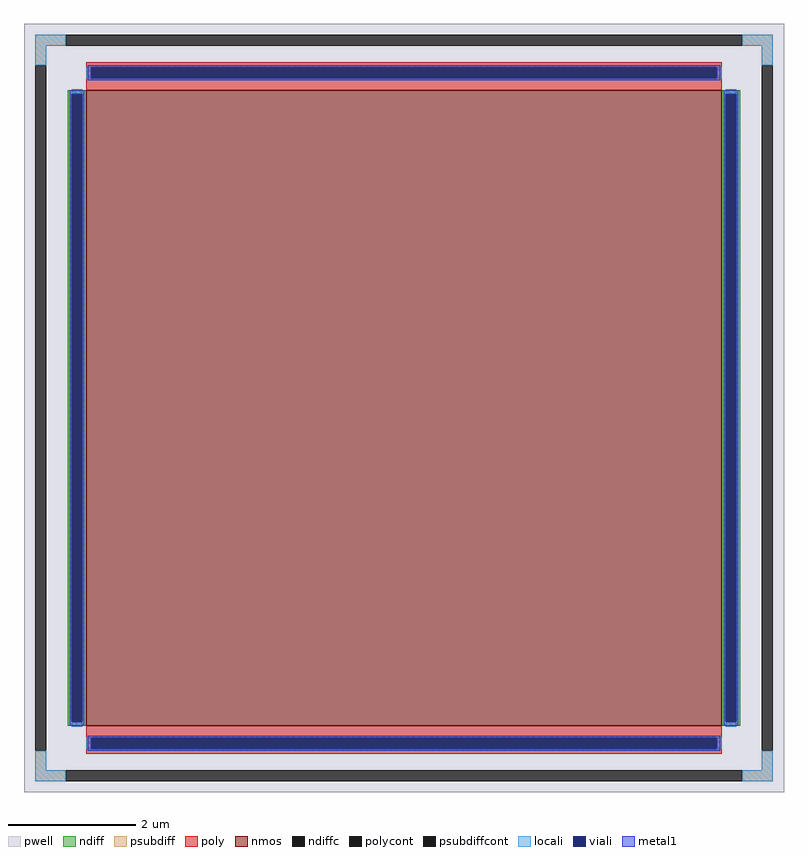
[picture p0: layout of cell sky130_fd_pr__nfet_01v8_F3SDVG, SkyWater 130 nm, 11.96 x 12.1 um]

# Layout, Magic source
magic
tech sky130A
<< pwell >>
rect -598 -605 598 605
<< nmos >>
rect -500 -500 500 500
<< ndiff >>
rect -529 494 -500 500
rect -529 -494 -523 494
rect -506 -494 -500 494
rect -529 -500 -500 -494
rect 500 494 529 500
rect 500 -494 506 494
rect 523 -494 529 494
rect 500 -500 529 -494
<< ndiffc >>
rect -523 -494 -506 494
rect 506 -494 523 494
<< psubdiff >>
rect -580 570 -532 587
rect 532 570 580 587
rect -580 539 -563 570
rect 563 539 580 570
rect -580 -570 -563 -539
rect 563 -570 580 -539
rect -580 -587 -532 -570
rect 532 -587 580 -570
<< psubdiffcont >>
rect -532 570 532 587
rect -580 -539 -563 539
rect 563 -539 580 539
rect -532 -587 532 -570
<< poly >>
rect -500 536 500 544
rect -500 519 -492 536
rect 492 519 500 536
rect -500 500 500 519
rect -500 -519 500 -500
rect -500 -536 -492 -519
rect 492 -536 500 -519
rect -500 -544 500 -536
<< polycont >>
rect -492 519 492 536
rect -492 -536 492 -519
<< locali >>
rect -580 570 -532 587
rect 532 570 580 587
rect -580 539 -563 570
rect 563 539 580 570
rect -500 519 -492 536
rect 492 519 500 536
rect -523 494 -506 502
rect -523 -502 -506 -494
rect 506 494 523 502
rect 506 -502 523 -494
rect -500 -536 -492 -519
rect 492 -536 500 -519
rect -580 -570 -563 -539
rect 563 -570 580 -539
rect -580 -587 -532 -570
rect 532 -587 580 -570
<< viali >>
rect -492 519 492 536
rect -523 -494 -506 494
rect 506 -494 523 494
rect -492 -536 492 -519
<< metal1 >>
rect -498 536 498 539
rect -498 519 -492 536
rect 492 519 498 536
rect -498 516 498 519
rect -526 494 -503 500
rect -526 -494 -523 494
rect -506 -494 -503 494
rect -526 -500 -503 -494
rect 503 494 526 500
rect 503 -494 506 494
rect 523 -494 526 494
rect 503 -500 526 -494
rect -498 -519 498 -516
rect -498 -536 -492 -519
rect 492 -536 498 -519
rect -498 -539 498 -536
<< properties >>
string gencell sky130_fd_pr__nfet_01v8
string FIXED_BBOX -571 -578 571 578
string parameters w 10.0 l 10.0 m 1 nf 1 diffcov 100 polycov 100 guard 1 glc 1 grc 1 gtc 1 gbc 1 tbcov 100 rlcov 100 topc 1 botc 1 poverlap 0 doverlap 1 lmin 0.15 wmin 0.42 compatible {sky130_fd_pr__nfet_01v8 sky130_fd_pr__nfet_01v8_lvt  sky130_fd_bs_flash__special_sonosfet_star  sky130_fd_pr__nfet_g5v0d10v5 sky130_fd_pr__nfet_05v0_nvt} full_metal 1 viasrc 100 viadrn 100 viagate 100 viagb 0 viagr 0 viagl 0 viagt 0
string library sky130
<< end >>
